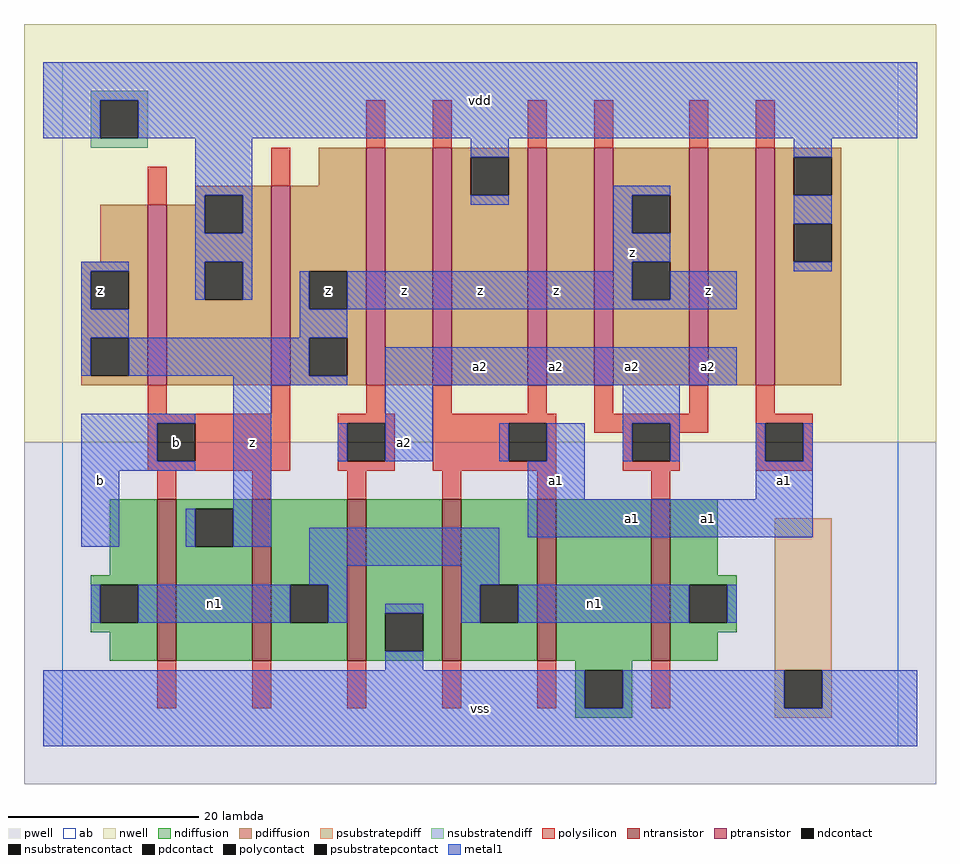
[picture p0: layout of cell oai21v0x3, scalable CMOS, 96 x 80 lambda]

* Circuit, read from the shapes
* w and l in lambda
.subckt oai21v0x3 a1 a2 b n1 vdd vss z
M1 z b n1 vss nfet w=17 l=2 m=2
M2 vss a2 n1 vss nfet w=17 l=2 m=2
M3 n1 a1 vss vss nfet w=17 l=2 m=2
M4 vdd b z vdd pfet w=19 l=2
M5 z b vdd vdd pfet w=21 l=2
M6 n2 a2 z vdd pfet w=25 l=2
M7 vdd a1 n2 vdd pfet w=25 l=2
M8 n3 a1 vdd vdd pfet w=25 l=2
M9 z a2 n3 vdd pfet w=25 l=2
M10 n4 a2 z vdd pfet w=25 l=2
M11 vdd a1 n4 vdd pfet w=25 l=2
.ends

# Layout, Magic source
magic
tech scmos
<< ab >>
rect 0 0 88 72
<< pwell >>
rect -4 -4 92 32
<< nwell >>
rect -4 32 92 76
<< polysilicon >>
rect 32 63 34 68
rect 39 63 41 68
rect 49 63 51 68
rect 56 63 58 68
rect 66 63 68 68
rect 73 63 75 68
rect 9 57 11 61
rect 22 59 24 63
rect 9 35 11 38
rect 22 35 24 38
rect 32 35 34 38
rect 39 35 41 38
rect 49 35 51 38
rect 56 35 58 38
rect 66 35 68 38
rect 9 34 24 35
rect 9 30 10 34
rect 14 30 24 34
rect 9 29 24 30
rect 29 34 35 35
rect 29 30 30 34
rect 34 30 35 34
rect 29 29 35 30
rect 39 34 52 35
rect 39 30 47 34
rect 51 30 52 34
rect 56 34 68 35
rect 56 33 60 34
rect 39 29 52 30
rect 59 30 60 33
rect 64 33 68 34
rect 73 35 75 38
rect 73 34 79 35
rect 64 30 65 33
rect 59 29 65 30
rect 73 30 74 34
rect 78 30 79 34
rect 73 29 79 30
rect 10 26 12 29
rect 20 26 22 29
rect 30 26 32 29
rect 40 26 42 29
rect 50 26 52 29
rect 62 26 64 29
rect 10 4 12 9
rect 20 4 22 9
rect 30 4 32 9
rect 40 4 42 9
rect 50 4 52 9
rect 62 4 64 9
<< ndiffusion >>
rect 5 18 10 26
rect 3 17 10 18
rect 3 13 4 17
rect 8 13 10 17
rect 3 12 10 13
rect 5 9 10 12
rect 12 25 20 26
rect 12 21 14 25
rect 18 21 20 25
rect 12 9 20 21
rect 22 17 30 26
rect 22 13 24 17
rect 28 13 30 17
rect 22 9 30 13
rect 32 14 40 26
rect 32 10 34 14
rect 38 10 40 14
rect 32 9 40 10
rect 42 17 50 26
rect 42 13 44 17
rect 48 13 50 17
rect 42 9 50 13
rect 52 9 62 26
rect 64 18 69 26
rect 64 17 71 18
rect 64 13 66 17
rect 70 13 71 17
rect 64 12 71 13
rect 64 9 69 12
rect 54 8 60 9
rect 54 4 55 8
rect 59 4 60 8
rect 54 3 60 4
<< pdiffusion >>
rect 27 59 32 63
rect 14 58 22 59
rect 14 57 15 58
rect 4 51 9 57
rect 2 50 9 51
rect 2 46 3 50
rect 7 46 9 50
rect 2 43 9 46
rect 2 39 3 43
rect 7 39 9 43
rect 2 38 9 39
rect 11 54 15 57
rect 19 54 22 58
rect 11 51 22 54
rect 11 47 15 51
rect 19 47 22 51
rect 11 38 22 47
rect 24 50 32 59
rect 24 46 26 50
rect 30 46 32 50
rect 24 43 32 46
rect 24 39 26 43
rect 30 39 32 43
rect 24 38 32 39
rect 34 38 39 63
rect 41 62 49 63
rect 41 58 43 62
rect 47 58 49 62
rect 41 38 49 58
rect 51 38 56 63
rect 58 58 66 63
rect 58 54 60 58
rect 64 54 66 58
rect 58 51 66 54
rect 58 47 60 51
rect 64 47 66 51
rect 58 38 66 47
rect 68 38 73 63
rect 75 62 82 63
rect 75 58 77 62
rect 81 58 82 62
rect 75 55 82 58
rect 75 51 77 55
rect 81 51 82 55
rect 75 38 82 51
<< metal1 >>
rect -2 68 90 72
rect -2 64 4 68
rect 8 64 90 68
rect 14 58 20 64
rect 14 54 15 58
rect 19 54 20 58
rect 43 62 47 64
rect 77 62 81 64
rect 43 57 47 58
rect 58 58 64 59
rect 14 51 20 54
rect 2 50 7 51
rect 2 46 3 50
rect 14 47 15 51
rect 19 47 20 51
rect 58 54 60 58
rect 58 51 64 54
rect 58 50 60 51
rect 2 43 7 46
rect 25 46 26 50
rect 30 47 60 50
rect 77 55 81 58
rect 77 50 81 51
rect 64 47 71 50
rect 30 46 71 47
rect 25 43 30 46
rect 2 39 3 43
rect 7 39 26 43
rect 18 38 30 39
rect 34 38 71 42
rect 2 34 14 35
rect 2 30 10 34
rect 2 29 14 30
rect 2 21 6 29
rect 13 21 14 25
rect 18 21 22 38
rect 29 30 30 34
rect 34 30 39 38
rect 59 34 65 38
rect 46 30 47 34
rect 51 30 55 34
rect 59 30 60 34
rect 64 30 65 34
rect 73 30 74 34
rect 78 30 79 34
rect 49 26 55 30
rect 73 26 79 30
rect 26 19 46 23
rect 49 22 79 26
rect 26 17 30 19
rect 3 13 4 17
rect 8 13 24 17
rect 28 13 30 17
rect 42 17 46 19
rect 34 14 38 15
rect 42 13 44 17
rect 48 13 66 17
rect 70 13 71 17
rect 34 8 38 10
rect -2 4 55 8
rect 59 4 76 8
rect 80 4 90 8
rect -2 0 90 4
<< ntransistor >>
rect 10 9 12 26
rect 20 9 22 26
rect 30 9 32 26
rect 40 9 42 26
rect 50 9 52 26
rect 62 9 64 26
<< ptransistor >>
rect 9 38 11 57
rect 22 38 24 59
rect 32 38 34 63
rect 39 38 41 63
rect 49 38 51 63
rect 56 38 58 63
rect 66 38 68 63
rect 73 38 75 63
<< polycontact >>
rect 10 30 14 34
rect 30 30 34 34
rect 47 30 51 34
rect 60 30 64 34
rect 74 30 78 34
<< ndcontact >>
rect 4 13 8 17
rect 14 21 18 25
rect 24 13 28 17
rect 34 10 38 14
rect 44 13 48 17
rect 66 13 70 17
rect 55 4 59 8
<< pdcontact >>
rect 3 46 7 50
rect 3 39 7 43
rect 15 54 19 58
rect 15 47 19 51
rect 26 46 30 50
rect 26 39 30 43
rect 43 58 47 62
rect 60 54 64 58
rect 60 47 64 51
rect 77 58 81 62
rect 77 51 81 55
<< psubstratepcontact >>
rect 76 4 80 8
<< nsubstratencontact >>
rect 4 64 8 68
<< psubstratepdiff >>
rect 75 8 81 24
rect 75 4 76 8
rect 80 4 81 8
rect 75 3 81 4
<< nsubstratendiff >>
rect 3 68 9 69
rect 3 64 4 68
rect 8 64 9 68
rect 3 63 9 64
<< labels >>
rlabel polycontact 12 32 12 32 6 b
rlabel metal1 4 28 4 28 6 b
rlabel pdcontact 4 48 4 48 6 z
rlabel metal1 16 15 16 15 6 n1
rlabel metal1 20 32 20 32 6 z
rlabel pdcontact 28 48 28 48 6 z
rlabel metal1 44 4 44 4 6 vss
rlabel metal1 36 32 36 32 6 a2
rlabel metal1 44 40 44 40 6 a2
rlabel metal1 36 48 36 48 6 z
rlabel metal1 44 48 44 48 6 z
rlabel metal1 44 68 44 68 6 vdd
rlabel metal1 60 24 60 24 6 a1
rlabel metal1 68 24 68 24 6 a1
rlabel metal1 52 28 52 28 6 a1
rlabel metal1 52 40 52 40 6 a2
rlabel metal1 60 40 60 40 6 a2
rlabel metal1 68 40 68 40 6 a2
rlabel metal1 52 48 52 48 6 z
rlabel metal1 60 52 60 52 6 z
rlabel metal1 68 48 68 48 6 z
rlabel metal1 56 15 56 15 6 n1
rlabel metal1 76 28 76 28 6 a1
<< end >>
